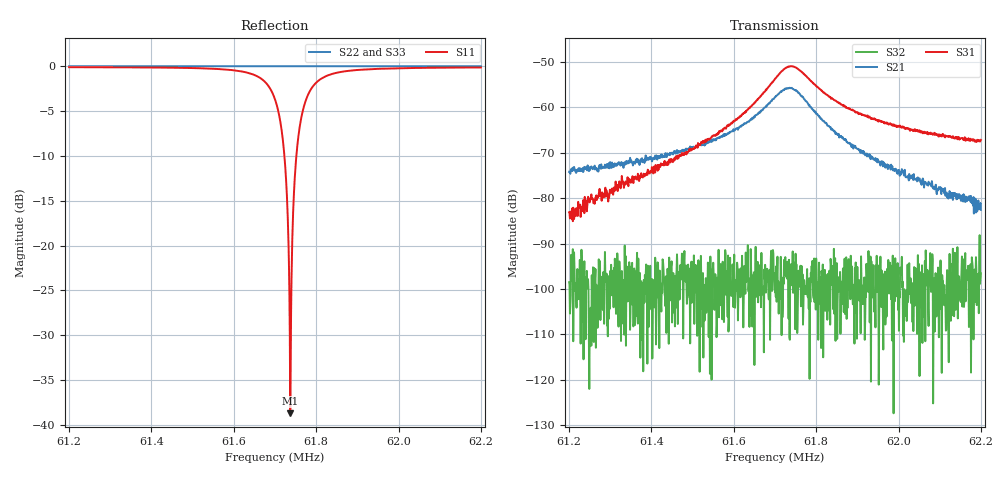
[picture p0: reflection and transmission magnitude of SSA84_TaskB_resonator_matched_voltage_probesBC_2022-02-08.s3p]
#  HZ  S  DB  R  50.00
! Rohde & Schwarz Vector Network Analyzer
! Rohde-Schwarz,ZNB8-4Port,1311601044102961,2.82
! Created: UTC 2/8/2022, 8:34:43 AM
! freq[Hz]  db:S11  ang:S11  db:S12  ang:S12  db:S13  ang:S13
!  db:S21  ang:S21  db:S22  ang:S22  db:S23  ang:S23
!  db:S31  ang:S31  db:S32  ang:S32  db:S33  ang:S33
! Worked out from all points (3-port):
!   1001 points, 61.2 MHz to 62.2 MHz, reference 50 ohm
!   strongest paths, dB at 61.2 MHz, 61.45 MHz, 61.7 MHz, 61.95 MHz, 62.2 MHz:
!     S31: -83.1, -71.6, -53.7, -62.8, -67.1
!     S21: -74.2, -70.0, -57.7, -72.1, -82.6
!     S32: -98.5, -107.4, -100.7, -100.6, -96.5
!   lowest |S11| = -38.7 dB at 61.737 MHz (marker M1), VSWR 1.02, Z = 51.1 - j0.517 ohm
!   |S11| at or under -10 dB: 61.72283 MHz to 61.75187 MHz (29.03 kHz wide, 0.047 % of centre)
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6.12e7  -0.12 11.9  -75.53 72.1  -83.55 -96.3
        -74.18 75.9  -0.01 -47.1  -96.65 92.4
        -83.09 -114.4  -98.49 58.7  -0.02 -34.2
6.1297e7  -0.13 9.3  -72.18 70.0  -78.59 -109.9
          -72.26 72.1  -0.01 -47.2  -101.61 -22.8
          -79.89 -111.2  -105.06 -14.5  -0.02 -34.2
6.1603e7  -0.48 -8.1  -64.82 54.5  -62.77 -121.5
          -64.98 53.7  -0.01 -47.4  -105.37 -170.0
          -62.90 -121.7  -104.12 -33.5  -0.02 -34.4
6.17e7  -3.70 -41.1  -57.58 22.4  -53.75 -154.7
        -57.71 21.8  -0.01 -47.4  -108.10 -20.6
        -53.66 -154.7  -100.71 145.3  -0.02 -34.5
6.1723e7  -10.09 -63.3  -55.82 -1.5  -51.47 -177.5
          -56.06 -1.6  -0.01 -47.5  -92.98 -14.2
          -51.51 -177.5  -96.09 12.6  -0.01 -34.5
6.1737e7  -38.69 -25.8  -55.59 -19.4  -50.89 164.0
          -55.74 -19.8  -0.01 -47.5  -100.80 41.3
          -50.93 164.0  -94.56 -148.9  -0.02 -34.5
6.1756e7  -8.12 71.4  -56.58 -43.2  -51.49 140.4
          -56.72 -43.2  -0.01 -47.5  -96.96 6.8
          -51.53 140.4  -100.07 59.0  -0.02 -34.5
6.1795e7  -2.08 42.3  -60.60 -71.6  -54.86 111.1
          -60.85 -73.8  -0.00 -47.5  -102.59 -22.4
          -54.83 110.8  -93.27 147.5  -0.02 -34.5
6.1896e7  -0.44 19.6  -68.66 -93.3  -60.94 88.4
          -68.90 -94.3  -0.01 -47.6  -101.73 151.0
          -61.11 89.0  -94.15 100.3  -0.01 -34.6
6.22e7  -0.15 4.7  -81.72 -122.1  -67.38 76.7
        -82.56 -107.0  -0.01 -47.8  -97.55 -112.7
        -67.15 77.8  -96.52 29.8  -0.02 -34.8
